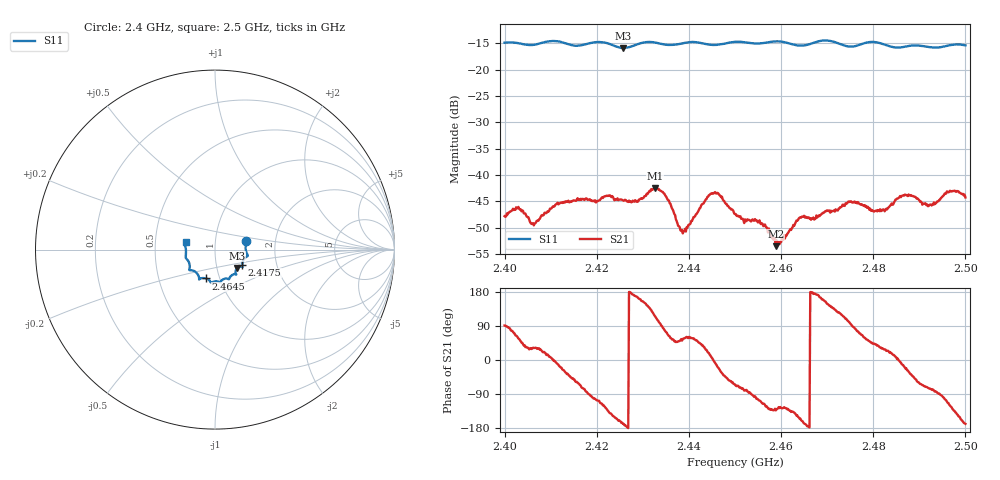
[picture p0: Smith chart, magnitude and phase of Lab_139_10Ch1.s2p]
# Hz S RI R 50
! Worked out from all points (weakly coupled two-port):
!   601 points, 2.4 GHz to 2.5 GHz, reference 50 ohm
!   highest |S21| = -42.46 dB at 2.4327 GHz (marker M1); lowest = -53.5 dB at 2.4588 GHz (marker M2)
!   lowest |S11| = -15.9 dB at 2.4257 GHz (marker M3), VSWR 1.38, Z = 62.5 - j13.1 ohm
!   |S11| at or under -10 dB: start of sweep to end of sweep
!   S12 and S22 are empty: the file has one direction only
!   S11 on the Smith chart (normalised r, x): 2.4 GHz: 1.41, +0.14; 2.4175 GHz: 1.33, -0.23; 2.4645 GHz: 0.86, -0.28; 2.5 GHz: 0.72, +0.06
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2.4e9  0.1729 0.0488  -6.52e-05 0.00407  0 0  0 0
2.403e9  0.1743 0.0344  0.00274 0.00416  0 0  0 0
2.406333e9  0.1714 -0.00199  0.00282 0.00175  0 0  0 0
2.4115e9  0.1817 -0.0361  0.00536 -0.000997  0 0  0 0
2.416667e9  0.1528 -0.0742  0.00181 -0.00553  0 0  0 0
2.4175e9  0.1516 -0.0834  0.000949 -0.00586  0 0  0 0
2.425667e9  0.1232 -0.1021  -0.00563 -0.00114  0 0  0 0
2.432667e9  0.1162 -0.1377  -0.00322 0.00682  0 0  0 0
2.433333e9  0.1132 -0.1369  -0.00169 0.0071  0 0  0 0
2.438667e9  0.0808 -0.1579  0.0016 0.00229  0 0  0 0
2.445167e9  0.0545 -0.1621  0.00672 0.000331  0 0  0 0
2.45e9  0.029 -0.1809  0.00183 -0.00385  0 0  0 0
2.456333e9  -0.00882 -0.1787  -0.00146 -0.003  0 0  0 0
2.458833e9  -0.0215 -0.1837  -0.00144 -0.00154  0 0  0 0
2.4645e9  -0.0514 -0.1605  -0.00379 -0.00134  0 0  0 0
2.466667e9  -0.0757 -0.1596  -0.00387 0.000132  0 0  0 0
2.474833e9  -0.1044 -0.1279  -0.000864 0.00548  0 0  0 0
2.483333e9  -0.1409 -0.0903  0.00452 0.00193  0 0  0 0
2.486667e9  -0.1532 -0.0582  0.0061 -0.00181  0 0  0 0
2.492333e9  -0.1616 -0.0217  0.00133 -0.00507  0 0  0 0
2.4965e9  -0.1681 0.0237  -0.00327 -0.00609  0 0  0 0
2.5e9  -0.164 0.0429  -0.006 -0.00123  0 0  0 0
